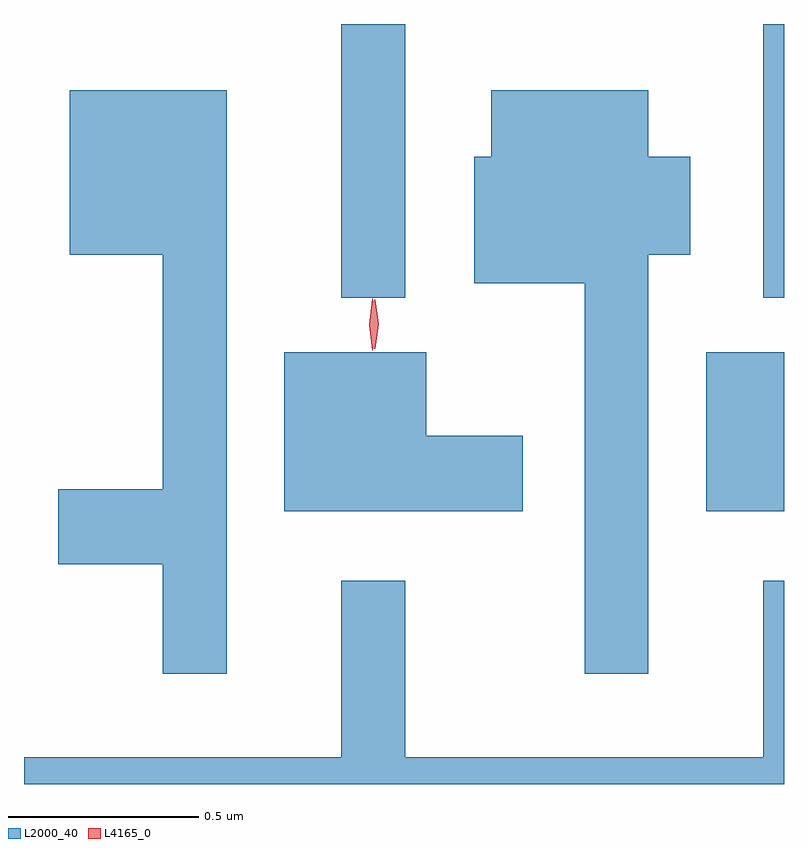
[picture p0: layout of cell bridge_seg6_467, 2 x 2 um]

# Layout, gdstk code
import gdstk
lib = gdstk.Library(unit=1e-6, precision=1e-09)
def R(c, l, rs):  # rectangles x0, y0, x1, y1
    for r in rs: c.add(gdstk.rectangle(r[:2], r[2:], *l))
def P(c, l, *ps):  # polygons
    for p in ps: c.add(gdstk.Polygon(p, *l))
L2000_40 = (2000, 40)
L4165_0 = (4165, 0)

bridge_seg6_467 = lib.new_cell('bridge_seg6_467')
R(bridge_seg6_467, L2000_40, [(829.321,1606.451,829.526,1606.869), (828.361,1607.013,828.529,1607.733), (829.471,1607.013,829.526,1607.733)])
P(bridge_seg6_467, L2000_40, [(828.059,1607.559),(827.646,1607.559),(827.646,1607.126),(827.891,1607.126),(827.891,1606.509),(827.616,1606.509),(827.616,1606.311),(827.891,1606.311),(827.891,1606.023),(828.059,1606.023)],
  [(829.169,1607.126),(829.279,1607.126),(829.279,1607.384),(829.169,1607.384),(829.169,1607.559),(828.756,1607.559),(828.756,1607.384),(828.711,1607.384),(828.711,1607.051),(829.001,1607.051),(829.001,1606.023),(829.169,1606.023)],
  [(828.839,1606.649),(828.584,1606.649),(828.584,1606.869),(828.211,1606.869),(828.211,1606.451),(828.839,1606.451)],
  [(829.526,1606.268),(829.471,1606.268),(829.471,1605.804),(828.529,1605.804),(828.529,1606.268),(828.361,1606.268),(828.361,1605.804),(827.526,1605.804),(827.526,1605.733),(829.526,1605.733)])
P(bridge_seg6_467, L4165_0, [(828.448,1606.879),(828.439,1606.943),(828.448,1607.007),(828.449,1607.007),(828.45,1607.007),(828.459,1606.943),(828.45,1606.879),(828.449,1606.879)],
  [(828.444,1606.873),(828.443,1606.874),(828.434,1606.942),(828.443,1607.01),(828.444,1607.01),(828.444,1607.01),(828.454,1606.942),(828.444,1606.874)])

lib.write_gds('bridge_seg6_467.gds')
